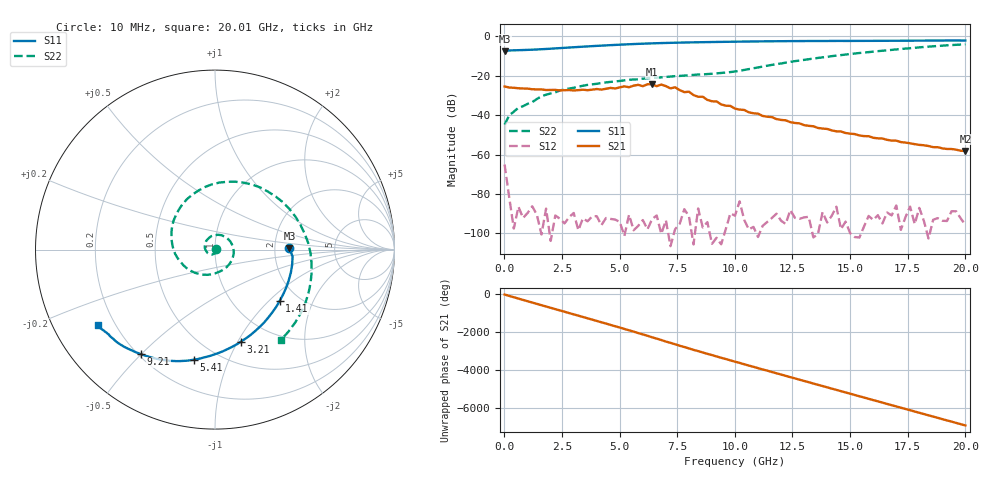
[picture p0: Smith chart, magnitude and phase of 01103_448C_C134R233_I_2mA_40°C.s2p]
!;Filter: kein Filter
!auto
!3/21/2019 9:26:52 AM
!3/21/2019 9:27:07 AM
!SP-Measurements Prober G4
!SP-Measurements Prober G4
!01103_448C
!134
!233
!12
!40
!-20
!0.00199954
!1.75
!0.22129449
!0.22129449
# Hz S  RI  R 50
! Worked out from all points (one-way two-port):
!   101 points, 10 MHz to 20.01 GHz, reference 50 ohm
!   highest |S21| = -24.35 dB at 6.41 GHz (marker M1); lowest = -58.2 dB at 20.01 GHz (marker M2)
!   lowest |S11| = -7.6 dB at 10 MHz (marker M3), VSWR 2.42, Z = 121 + j2.77 ohm
!   |S11| at or under -10 dB: nowhere
!   |S22| runs from -44.8 to -4.1 dB; largest |S21 - S12| = 0.061
!   S11 on the Smith chart (normalised r, x): 10 MHz: 2.42, +0.06; 1.41 GHz: 1.61, -1.16; 3.21 GHz: 0.72, -1.03; 5.41 GHz: 0.38, -0.76; 9.21 GHz: 0.21, -0.50; 20.01 GHz: 0.14, -0.29
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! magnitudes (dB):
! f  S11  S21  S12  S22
! 10 MHz  -7.6  -25.5  -65.0  -44.8
! 210 MHz  -7.2  -26.0  -81.7  -40.1
! 610 MHz  -7.1  -26.4  -86.4  -36.3
! 1.41 GHz  -6.7  -27.0  -90.5  -31.9
! 2.41 GHz  -6.1  -27.5  -92.5  -27.6
! 3.21 GHz  -5.5  -27.4  -98.4  -25.6
! 3.41 GHz  -5.3  -27.1  -92.3  -25.1
! 5.41 GHz  -4.1  -25.9  -90.5  -22.1
! 5.81 GHz  -3.9  -24.7  -96.1  -21.9
! 6.41 GHz  -3.6  -24.4  -92.8  -21.1
! 6.61 GHz  -3.6  -25.4  -90.9  -21.0
! 6.81 GHz  -3.5  -24.5  -100.2  -20.9
! 7.21 GHz  -3.4  -26.5  -106.4  -20.5
! 7.41 GHz  -3.3  -25.9  -97.8  -20.2
! 7.81 GHz  -3.2  -28.4  -87.7  -20.0
! 8.01 GHz  -3.2  -28.1  -91.3  -19.8
! 8.41 GHz  -3.1  -30.7  -87.3  -19.5
! 9.21 GHz  -2.9  -33.1  -102.2  -18.8
! 10.01 GHz  -2.8  -36.7  -91.0  -17.9
! 13.41 GHz  -2.5  -45.6  -102.0  -11.4
! 16.81 GHz  -2.3  -52.9  -90.9  -7.0
! 20.01 GHz  -2.2  -58.2  -95.6  -4.1
